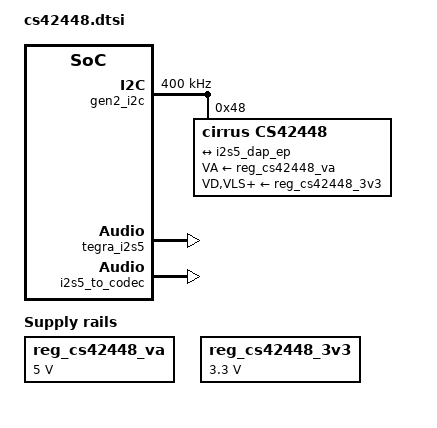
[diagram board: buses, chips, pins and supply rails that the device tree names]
// CS42448 TDM codec on Tegra I2S5 (DAP5, 40-pin header).
//
// 8 DAC out / 6 ADC in, single-pair TDM (DSP_A), I2C control (CS strapped
// GND -> I2C mode, AD0=AD1=0 -> addr 0x48). Codec is clock SLAVE; Tegra
// I2S5 is BCLK+FS+MCLK master. MCLK from AUD_MCLK (header pin 7). The active
// NVIDIA APE card (nvidia,tegra186-ape) uses card-level mclk-fs=256, so at
// 48k MCLK = 12.288 MHz (NOT 24.576/512x). The endpoint mclk-fs below is an
// audio-graph-card property and is inert here (the graph card is disabled);
// the codec is a slave and its MFREQ follows whatever the machine driver
// programs. RESET on soc_gpio41_pq5 = MAIN_GPIO(Q,5) = header pin 29.
//
// Pinmux: MB1 owns boot pinmux for most pads. The A203 MB1 cfg already muxes
// dap5 sclk/fs/dout/din -> i2s5 and aud_mclk -> aud, so DAP5 reaches header
// pins 12/35/40/38 + 7 with no DT override. (Verified 2026-06-08.)
// EXCEPTION: pin 29 (soc_gpio41_pq5) needs a kernel-side pinmux override to
// set PULL_UP. Stock hdr40 DTS sets PULL_NONE + function=extperiph3; when the
// cs42xx8 driver releases the GPIO (unbind/modprobe cycle), the pad floats to
// ~1.55V — below VIH for 3.3V logic — holding the codec in reset. The board's
// 9.1kΩ external pullup to VLC can't win against the Tegra internal pulldown.
// Fix: function=gpio + pull-up so the pad defaults high (RST# de-asserted).
//
// Full design: docs/jetson-cs42448-tdm-plan.md + docs/jetson-audio-multimode-dsp.md.
//
// Bring-up notes / things to verify on first hardware:
//   - cs42xx8 probe reads CHIP_ID over I2C. I2C control is independent of
//     MCLK (control works at reset) — confirmed at the bench: codec ACKs at
//     0x48 with no MCLK running. So probe should not need MCLK energised early.
//   - "format"/"bitclock-master"/"frame-master" on the dai-link drive the
//     Tegra machine driver's set_dai_fmt (DSP_A) + master select. Mirrors the
//     jetson-respeaker-4-mic TDM overlay pattern.
//   - Card-level routing/widgets are needed only for the capture (ADC) path;
//     playback (DAC->AOUT terminal) needs none. Add when wiring capture.
//   - VA=5V, VD/VLS/VLC=3V3 come from the codec board's own LDO; the
//     regulator-fixed nodes below are nominal always-on handles the driver's
//     *-supply bindings require (enable is a no-op).

#include <dt-bindings/gpio/gpio.h>
#include <dt-bindings/gpio/tegra194-gpio.h>
#include <dt-bindings/clock/tegra194-clock.h>
#include <dt-bindings/pinctrl/pinctrl-tegra.h>

/ {
	reg_cs42448_va: regulator-cs42448-va {
		compatible = "regulator-fixed";
		regulator-name = "cs42448-va";
		regulator-min-microvolt = <5000000>;
		regulator-max-microvolt = <5000000>;
		regulator-always-on;
	};

	reg_cs42448_3v3: regulator-cs42448-3v3 {
		compatible = "regulator-fixed";
		regulator-name = "cs42448-3v3";
		regulator-min-microvolt = <3300000>;
		regulator-max-microvolt = <3300000>;
		regulator-always-on;
	};
};

/* Pin 29 (soc_gpio41_pq5): override stock hdr40 pinmux to add pull-up so RST#
 * defaults high (de-asserted) even when the GPIO is unclaimed by the driver. */
&pinmux {
	cs42448_rst_default: cs42448-rst-default {
		nvidia,pins = "soc_gpio41_pq5";
		nvidia,function = "rsvd2";
		nvidia,pull = <TEGRA_PIN_PULL_UP>;
		nvidia,tristate = <TEGRA_PIN_ENABLE>;
		nvidia,enable-input = <TEGRA_PIN_DISABLE>;
		nvidia,io-high-voltage = <TEGRA_PIN_DISABLE>;
		nvidia,lpdr = <TEGRA_PIN_DISABLE>;
	};
};

/* CS42448 control port -> gen2 I2C (header pins 27 SDA / 28 SCL), addr 0x48 */
&gen2_i2c {
	status = "okay";
	clock-frequency = <400000>;
	pinctrl-names = "default";
	pinctrl-0 = <&cs42448_rst_default>;

	cs42448: audio-codec@48 {
		compatible = "cirrus,cs42448";
		reg = <0x48>;

		clocks = <&bpmp_clks TEGRA194_CLK_AUD_MCLK>;
		clock-names = "mclk";

		VA-supply  = <&reg_cs42448_va>;
		VD-supply  = <&reg_cs42448_3v3>;
		VLS-supply = <&reg_cs42448_3v3>;
		VLC-supply = <&reg_cs42448_3v3>;

		/* RST# = soc_gpio41_pq5 = MAIN_GPIO(Q,5) = 40-pin header pin 29.
		 * reset-gpios intentionally NOT declared: the cs42xx8 driver
		 * claims PQ.05 and drives it LOW at probe, asserting reset even
		 * though the cs42448_rst_default pinmux sets pull-up + tristate.
		 * Leaving it to the pinmux keeps RST# de-asserted (high). The
		 * physical pin-29 wire is disconnected on the bench board.
		 * HARDWARE-GATED: verify codec still probes (0x48 ACK) without
		 * the driver-driven reset pulse before trusting on real boards. */

		#sound-dai-cells = <1>;
		sound-name-prefix = "CS42448";
		status = "okay";

		cs42448_port: port {
			cs42448_ep: endpoint {
				remote-endpoint = <&i2s5_dap_ep>;
				mclk-fs = <256>;	/* 12.288 MHz @ 48k */
				link-name = "cs42448-tdm";
			};
		};
	};
};

/* Force 8-channel 32-bit TDM at the hardware level. */
&tegra_i2s5 {
	nvidia,audio-channels = <8>;
	nvidia,sample-size = <32>;
	status = "okay";
};

/* Replace the stock I2S5 dummy codec link with the CS42448, TDM/DSP_A,
 * Tegra I2S5 as bit+frame clock master. */
&i2s5_to_codec {
	status = "okay";
	link-name = "cs42448-tdm";
	format = "dsp_a";
	bitclock-master;
	frame-master;
	bitclock-noninversion;
	frame-noninversion;
	fsync-width = <0>;

	codec {
		sound-dai = <&cs42448 0>;
		prefix = "CS42448";
	};
};

/* Disable ADSP — its component_open callback returns -EPIPE ("Broken Path
 * FE not linked to BE") for every PCM stream on the APE card, blocking the
 * DPCM framework from opening the I2S5 BE and preventing hw_params from
 * reaching the CS42448 codec. ADSP is only needed for on-chip DSP plugins
 * (mp3-dec, spkprot, AEC) which we don't use for direct I2S playback. */
&tegra_adsp_audio {
	status = "disabled";
};

/* DAPM routing: connect codec output widgets to card-level speaker endpoints
 * so DAPM can trace a complete path from FE (ADMAIF) through the XBAR/I2S5
 * BE to the codec outputs. Without this, DAPM leaves I2S5 powered off. */
&tegra_sound {
	assigned-clocks = <&bpmp_clks TEGRA194_CLK_PLLA_OUT0>,
			  <&bpmp_clks TEGRA194_CLK_AUD_MCLK>;
	assigned-clock-parents = <&bpmp_clks TEGRA194_CLK_PLLA>,
				 <&bpmp_clks TEGRA194_CLK_PLLA_OUT0>;
	assigned-clock-rates = <12288000>, <12288000>;

	nvidia-audio-card,widgets =
		"Speaker", "CS42448 Out1",
		"Speaker", "CS42448 Out2",
		"Speaker", "CS42448 Out3",
		"Speaker", "CS42448 Out4";
	nvidia-audio-card,routing =
		"CS42448 Out1",     "CS42448 AOUT1L",
		"CS42448 Out1",     "CS42448 AOUT1R",
		"CS42448 Out2",     "CS42448 AOUT2L",
		"CS42448 Out2",     "CS42448 AOUT2R",
		"CS42448 Out3",     "CS42448 AOUT3L",
		"CS42448 Out3",     "CS42448 AOUT3R",
		"CS42448 Out4",     "CS42448 AOUT4L",
		"CS42448 Out4",     "CS42448 AOUT4R";
};

/* Point the I2S5 DAP audio-graph endpoint at the codec instead of the dummy. */
&i2s5_dap_ep {
	remote-endpoint = <&cs42448_ep>;
	dai-format = "dsp_a";
};
